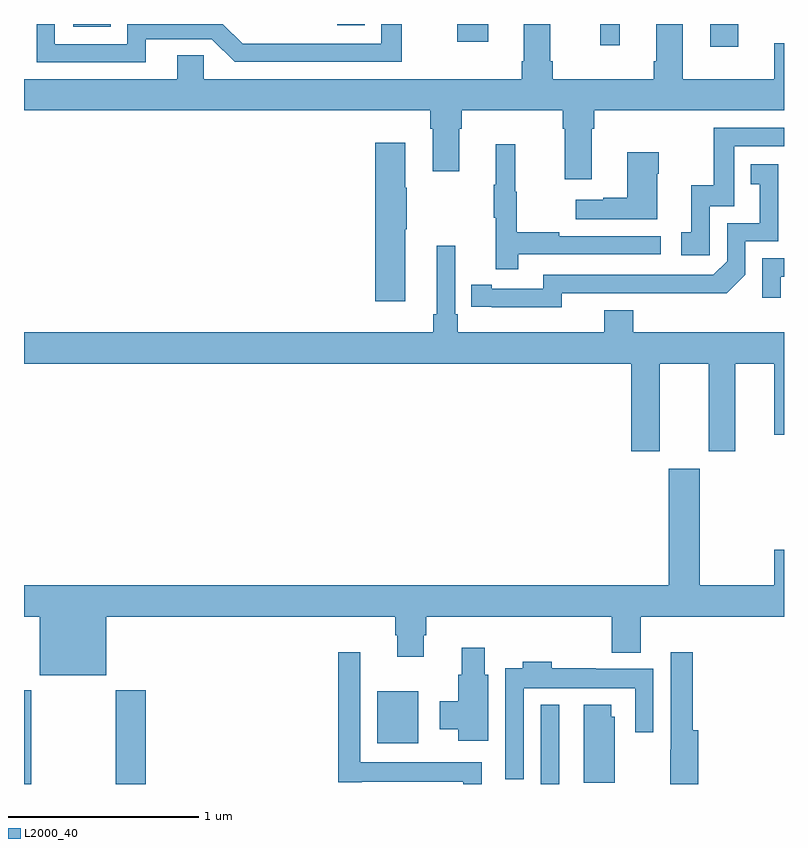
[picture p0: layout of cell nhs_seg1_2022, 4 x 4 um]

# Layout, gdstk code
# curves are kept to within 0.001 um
import gdstk
lib = gdstk.Library(unit=1e-6, precision=1e-09)
def R(c, l, rs):  # rectangles x0, y0, x1, y1
    for r in rs: c.add(gdstk.rectangle(r[:2], r[2:], *l))
def P(c, l, *ps):  # polygons
    for p in ps: c.add(gdstk.Polygon(p, *l))
L2000_40 = (2000, 40)

nhs_seg1_2022 = lib.new_cell('nhs_seg1_2022')
R(nhs_seg1_2022, L2000_40, [(221,536.199,221.037,536.692), (221.482,536.199,221.642,536.692), (223.719,536.199,223.816,536.617), (222.86,536.414,223.075,536.686), (224.612,540.078,224.758,540.199), (224.032,540.087,224.135,540.199), (223.279,540.105,223.444,540.199), (221.259,540.185,221.457,540.199), (222.648,540.192,222.794,540.199)])
P(nhs_seg1_2022, L2000_40, [(221.641,540.12),(221.988,540.12),(222.108,540),(222.988,540),(222.988,540.199),(222.879,540.199),(222.879,540.096),(222.15,540.096),(222.047,540.199),(221.544,540.199),(221.544,540.093),(221.163,540.093),(221.163,540.199),(221.067,540.199),(221.067,539.997),(221.641,539.997)],
  [(223.987,539.648),(224,539.648),(224,539.744),(225,539.744),(225,540.097),(224.948,540.097),(224.948,539.908),(224.467,539.908),(224.467,540.199),(224.327,540.199),(224.327,540.004),(224.315,540.004),(224.315,539.908),(223.784,539.908),(223.784,540.004),(223.771,540.004),(223.771,540.199),(223.631,540.199),(223.631,540.004),(223.619,540.004),(223.619,539.908),(221.946,539.908),(221.946,540.035),(221.807,540.035),(221.807,539.908),(221,539.908),(221,539.744),(223.139,539.744),(223.139,539.648),(223.151,539.648),(223.151,539.424),(223.291,539.424),(223.291,539.648),(223.304,539.648),(223.304,539.744),(223.835,539.744),(223.835,539.648),(223.847,539.648),(223.847,539.382),(223.987,539.382)],
  [(224.61,539.241),(224.739,539.241),(224.739,539.556),(225,539.556),(225,539.652),(224.631,539.652),(224.631,539.35),(224.513,539.35),(224.513,539.103),(224.46,539.103),(224.46,538.983),(224.61,538.983)],
  [(223.006,539.119),(223.014,539.119),(223.014,539.336),(223.006,539.336),(223.006,539.575),(222.848,539.575),(222.848,538.74),(223.006,538.74)],
  [(223.601,538.986),(224.35,538.986),(224.35,539.082),(223.817,539.082),(223.817,539.102),(223.594,539.102),(223.594,539.316),(223.586,539.316),(223.586,539.566),(223.484,539.566),(223.484,539.353),(223.473,539.353),(223.473,539.179),(223.484,539.179),(223.484,538.908),(223.601,538.908)],
  [(224.332,539.411),(224.34,539.411),(224.34,539.524),(224.174,539.524),(224.174,539.285),(224.048,539.285),(224.048,539.275),(223.905,539.275),(223.905,539.171),(224.332,539.171)],
  [(223.83,538.782),(224.698,538.781),(224.796,538.878),(224.796,539.055),(224.97,539.055),(224.97,539.461),(224.824,539.461),(224.824,539.355),(224.873,539.355),(224.873,539.151),(224.7,539.151),(224.7,538.95),(224.628,538.878),(223.734,538.878),(223.734,538.806),(223.462,538.806),(223.462,538.826),(223.354,538.826),(223.354,538.71),(223.83,538.709)],
  [(224.347,538.412),(224.603,538.412),(224.603,537.951),(224.743,537.951),(224.743,538.412),(224.948,538.412),(224.948,538.038),(225,538.038),(225,538.576),(224.207,538.576),(224.207,538.693),(224.054,538.693),(224.054,538.576),(223.283,538.576),(223.283,538.672),(223.269,538.672),(223.269,539.032),(223.172,539.032),(223.172,538.672),(223.153,538.672),(223.153,538.576),(221,538.576),(221,538.412),(224.195,538.412),(224.195,537.951),(224.347,537.951)],
  [(224.983,538.869),(225,538.869),(225,538.965),(224.886,538.965),(224.886,538.758),(224.983,538.758)],
  [(221,537.08),(221.084,537.08),(221.084,536.771),(221.434,536.771),(221.434,537.08),(222.953,537.08),(222.953,536.982),(222.965,536.982),(222.965,536.868),(223.105,536.868),(223.105,536.982),(223.118,536.982),(223.118,537.08),(224.093,537.08),(224.093,536.891),(224.245,536.891),(224.245,537.08),(225,537.08),(225,537.433),(224.948,537.433),(224.948,537.244),(224.557,537.244),(224.557,537.859),(224.393,537.859),(224.393,537.244),(221,537.244)],
  [(223.444,536.775),(223.426,536.775),(223.426,536.917),(223.304,536.917),(223.304,536.775),(223.286,536.775),(223.286,536.634),(223.187,536.634),(223.187,536.486),(223.286,536.486),(223.286,536.427),(223.444,536.427)],
  [(224.549,536.482),(224.519,536.482),(224.519,536.893),(224.403,536.893),(224.403,536.378),(224.402,536.378),(224.402,536.199),(224.549,536.199)],
  [(223.41,536.314),(222.771,536.314),(222.771,536.893),(222.655,536.893),(222.655,536.208),(222.778,536.208),(222.778,536.21),(223.313,536.21),(223.313,536.199),(223.41,536.199)],
  [(223.629,536.702),(224.217,536.702),(224.217,536.472),(224.313,536.472),(224.313,536.806),(224.009,536.806),(224.009,536.809),(223.778,536.809),(223.778,536.842),(223.625,536.842),(223.625,536.809),(223.533,536.809),(223.533,536.225),(223.629,536.225)],
  [(224.11,536.553),(224.092,536.553),(224.092,536.617),(223.946,536.617),(223.946,536.206),(224.11,536.206)])

lib.write_gds('nhs_seg1_2022.gds')
